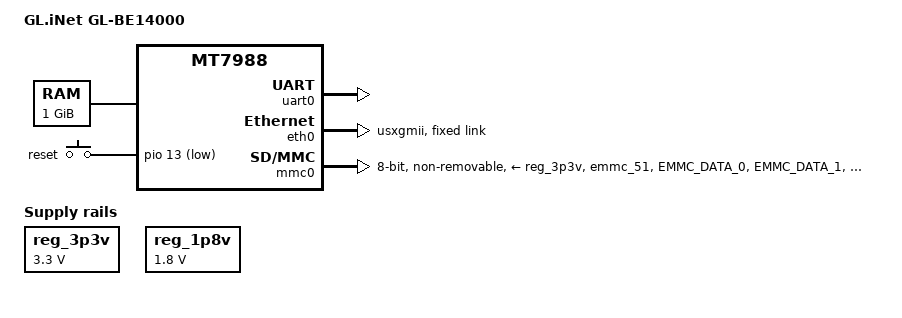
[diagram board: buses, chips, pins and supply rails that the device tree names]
// SPDX-License-Identifier: GPL-2.0
/*
 * Copyright (c) 2026 GL.iNet
 */

/dts-v1/;
#include "mt7988.dtsi"
#include <dt-bindings/gpio/gpio.h>
#include <dt-bindings/input/linux-event-codes.h>

/ {
	model = "GL.iNet GL-BE14000";
	compatible = "glinet,gl-be14000", "mediatek,mt7988";

	chosen {
		stdout-path = &uart0;
	};

	memory@40000000 {
		device_type = "memory";
		reg = <0 0x40000000 0 0x40000000>;
	};

	reg_3p3v: regulator-3p3v {
		compatible = "regulator-fixed";
		regulator-name = "fixed-3.3V";
		regulator-min-microvolt = <3300000>;
		regulator-max-microvolt = <3300000>;
		regulator-boot-on;
		regulator-always-on;
	};

	reg_1p8v: regulator-1p8v {
		compatible = "regulator-fixed";
		regulator-name = "fixed-1.8V";
		regulator-min-microvolt = <1800000>;
		regulator-max-microvolt = <1800000>;
		regulator-boot-on;
		regulator-always-on;
	};

	keys {
		compatible = "gpio-keys";

		reset {
			label = "reset";
			linux,code = <KEY_RESTART>;
			gpios = <&pio 13 GPIO_ACTIVE_LOW>;
		};
	};
};

&uart0 {
	status = "okay";
};

/*
 * gmac0 reaches the SoC built-in switch, which mtk_eth drives directly. The
 * other two MACs are USXGMII: gmac1 to an external YT9224 and gmac2 to an
 * RTL8261C, and U-Boot has a driver for neither, so only this one is enabled.
 * genphy would otherwise bind them and supply a wrong default for ethact.
 */
&eth0 {
	status = "okay";
	mediatek,gmac-id = <0>;
	phy-mode = "usxgmii";
	mediatek,switch = "mt7988";

	fixed-link {
		speed = <1000>;
		full-duplex;
		pause;
	};
};

&mmc0 {
	pinctrl-names = "default";
	pinctrl-0 = <&mmc0_pins_default>;
	bus-width = <8>;
	max-frequency = <52000000>;
	cap-mmc-highspeed;
	cap-mmc-hw-reset;
	vmmc-supply = <&reg_3p3v>;
	vqmmc-supply = <&reg_1p8v>;
	non-removable;
	status = "okay";
};

&pio {
	mmc0_pins_default: mmc0default {
		mux {
			function = "flash";
			groups =  "emmc_51";
		};

		conf-cmd-dat {
			pins = "EMMC_DATA_0", "EMMC_DATA_1", "EMMC_DATA_2",
			       "EMMC_DATA_3", "EMMC_DATA_4", "EMMC_DATA_5",
			       "EMMC_DATA_6", "EMMC_DATA_7", "EMMC_CMD";
			input-enable;
		};

		conf-clk {
			pins = "EMMC_CK";
		};

		conf-dsl {
			pins = "EMMC_DSL";
		};

		conf-rst {
			pins = "EMMC_RSTB";
		};
	};
};
